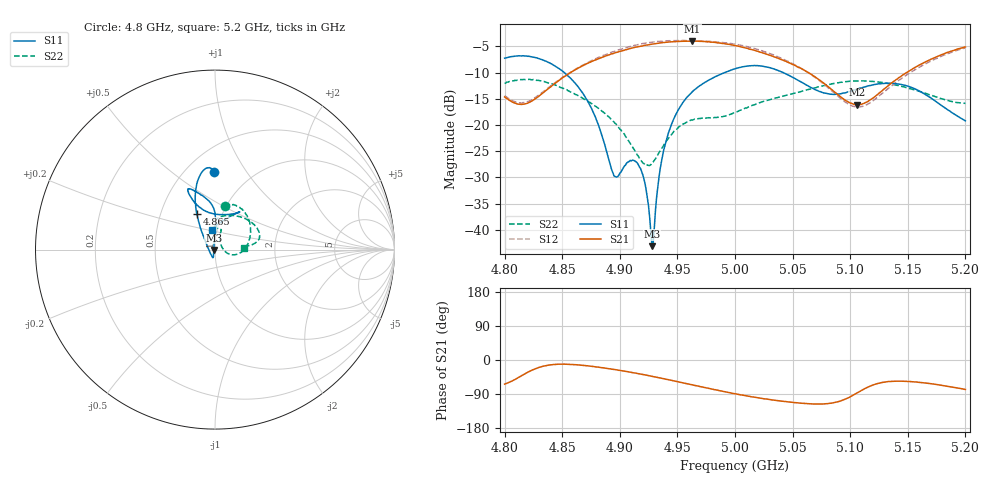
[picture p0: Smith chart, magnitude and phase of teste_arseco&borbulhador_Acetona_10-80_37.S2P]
! Network Analyzer HP8722D
! Hewlett-Packard
! Data name: Linha & Wilkinson
! Saver's name: Rodrigo Anjos
! Comments: Teste da utilização de aquisição
! continua pelo VNA HP8722D
! Time and date: 25/4/2025 15:34
!  Frequency  S11  S21  S12  S22
# HZ  S  MA R 50
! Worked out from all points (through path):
!   401 points, 4.8 GHz to 5.2 GHz, reference 50 ohm
!   highest |S21| = -3.97 dB at 4.963 GHz (marker M1); lowest = -16.1 dB at 5.106 GHz (marker M2)
!   lowest |S11| = -43.1 dB at 4.928 GHz (marker M3), VSWR 1.01, Z = 49.3 - j0.16 ohm
!   |S11| at or under -10 dB: 4.852 GHz to 4.991 GHz (139.1 MHz wide, 2.83 % of centre); 5.042 GHz to end of sweep
!   |S22| runs from -27.8 to -11.3 dB; largest |S21 - S12| = 1.2
!   S11 on the Smith chart (normalised r, x): 4.8 GHz: 0.68, +0.73; 4.865 GHz: 0.76, +0.32; 5.2 GHz: 0.94, +0.21
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4.8e9  0.4344 90.5  0.1854 -63.7  0.1909 69.8  0.25 77.2
4.821e9  0.4532 97.1  0.1639 -30.8  0.1686 100.0  0.2728 61.0
4.865e9  0.2225 117.0  0.3545 -13.2  0.3585 120.8  0.1876 10.9
4.867e9  0.2069 118.2  0.3646 -14.0  0.3683 120.6  0.1827 8.5
4.88e9  0.1098 128.4  0.4239 -18.5  0.4341 118.2  0.1482 -5.5
4.895e9  0.03259 -172.2  0.4852 -24.9  0.5017 113.7  0.1064 -15.9
4.91e9  0.04538 -105.1  0.5391 -32.7  0.5649 107.0  0.064 -13.9
4.917e9  0.03985 -102.4  0.5635 -36.6  0.5897 103.5  0.04828 -1.1
4.922e9  0.02725 -105.4  0.5769 -39.3  0.6046 100.6  0.04151 15.8
4.928e9  0.00697 -166.6  0.5927 -43.1  0.6183 97.0  0.04362 41.0
4.93e9  0.01065 124.0  0.5957 -44.4  0.6211 95.7  0.04611 48.5
4.934e9  0.03165 99.0  0.6048 -47.0  0.6283 93.2  0.0546 58.7
4.939e9  0.06268 92.6  0.6146 -49.9  0.6343 90.0  0.0669 65.8
4.945e9  0.1023 90.0  0.6232 -53.9  0.64 86.2  0.08146 70.1
4.963e9  0.2077 90.2  0.6331 -65.8  0.6383 74.7  0.1117 71.8
5e9  0.3449 109.0  0.573 -89.0  0.5926 50.7  0.1315 88.3
5.03e9  0.3534 114.9  0.4642 -104.3  0.4815 33.6  0.1741 85.3
5.067e9  0.2253 105.0  0.3009 -116.0  0.2982 23.6  0.2227 57.0
5.106e9  0.2194 64.2  0.1565 -86.8  0.1484 56.2  0.2632 24.8
5.134e9  0.2505 56.8  0.2419 -56.8  0.2273 88.6  0.2481 12.4
5.169e9  0.1843 69.5  0.4187 -62.2  0.4029 84.7  0.1942 6.8
5.2e9  0.1096 100.1  0.5552 -77.7  0.5459 70.1  0.1611 3.9
